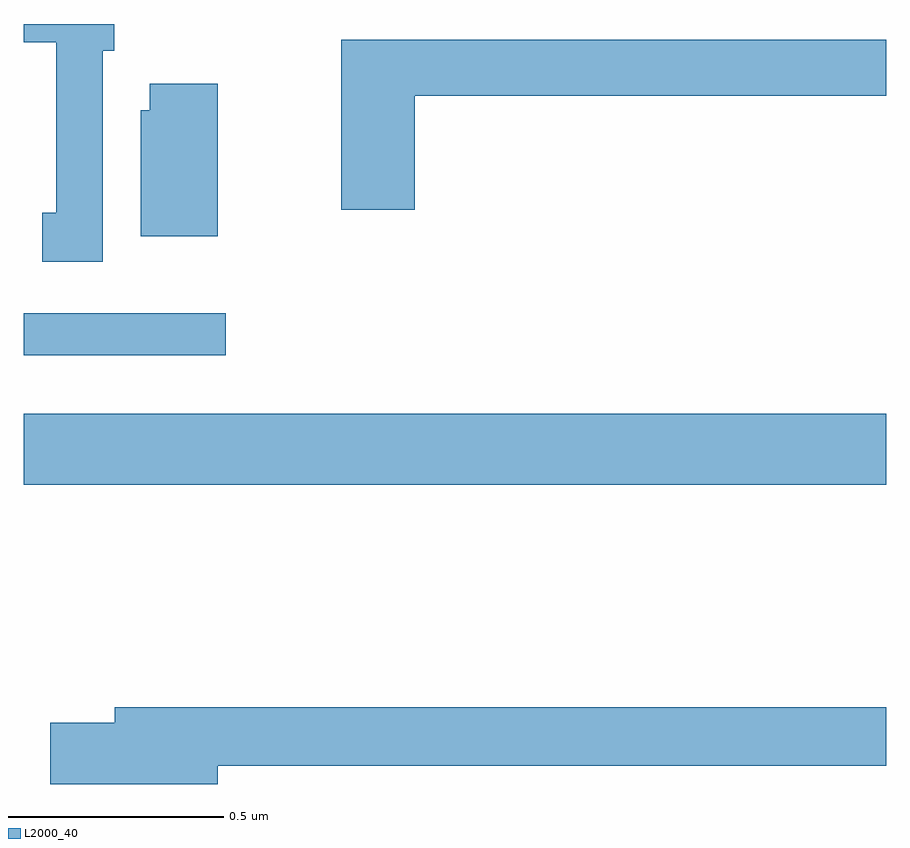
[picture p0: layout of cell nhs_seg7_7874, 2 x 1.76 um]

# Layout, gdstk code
import gdstk
lib = gdstk.Library(unit=1e-6, precision=1e-09)
def R(c, l, rs):  # rectangles x0, y0, x1, y1
    for r in rs: c.add(gdstk.rectangle(r[:2], r[2:], *l))
def P(c, l, *ps):  # polygons
    for p in ps: c.add(gdstk.Polygon(p, *l))
L2000_40 = (2000, 40)

nhs_seg7_7874 = lib.new_cell('nhs_seg7_7874')
R(nhs_seg7_7874, L2000_40, [(217,1017.932,219,1018.096), (217,1018.232,217.468,1018.329)])
P(nhs_seg7_7874, L2000_40, [(217.183,1018.938),(217.21,1018.938),(217.21,1019),(217,1019),(217,1018.958),(217.076,1018.958),(217.076,1018.562),(217.043,1018.562),(217.043,1018.449),(217.183,1018.449)],
  [(217.907,1018.834),(219,1018.834),(219,1018.963),(217.736,1018.963),(217.736,1018.569),(217.907,1018.569)],
  [(217.45,1018.861),(217.292,1018.861),(217.292,1018.8),(217.271,1018.8),(217.271,1018.508),(217.45,1018.508)],
  [(217.45,1017.28),(219,1017.28),(219,1017.416),(217.211,1017.416),(217.211,1017.38),(217.062,1017.38),(217.062,1017.238),(217.45,1017.238)])

lib.write_gds('nhs_seg7_7874.gds')
